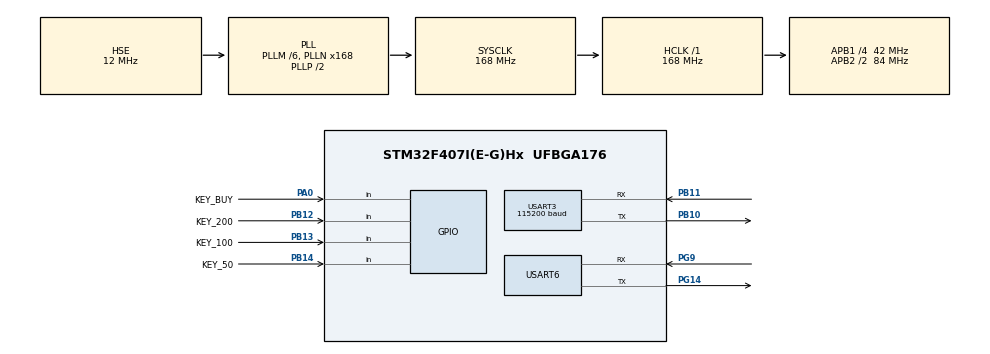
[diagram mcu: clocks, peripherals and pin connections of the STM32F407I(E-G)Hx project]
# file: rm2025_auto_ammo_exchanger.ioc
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Mcu.Family=STM32F4
Mcu.Name=STM32F407I(E-G)Hx
Mcu.Package=UFBGA176
NVIC.PriorityGroup=NVIC_PRIORITYGROUP_4
NVIC.USART3_IRQn=true\:0\:0\:false\:false\:true\:true\:true\:true
NVIC.USART6_IRQn=true\:0\:0\:false\:false\:true\:true\:true\:true
PA0-WKUP.GPIO_Label=KEY_BUY
PA0-WKUP.Signal=GPIO_Input
PA13.Mode=Serial_Wire
PA13.Signal=SYS_JTMS-SWDIO
PA14.Mode=Serial_Wire
PA14.Signal=SYS_JTCK-SWCLK
PB10.Mode=Asynchronous
PB10.Signal=USART3_TX
PB11.Mode=Asynchronous
PB11.Signal=USART3_RX
PB12.GPIO_Label=KEY_200
PB12.Signal=GPIO_Input
PB13.GPIO_Label=KEY_100
PB13.Signal=GPIO_Input
PB14.GPIO_Label=KEY_50
PB14.Signal=GPIO_Input
PG14.Mode=Asynchronous
PG14.Signal=USART6_TX
PG9.Mode=Asynchronous
PG9.Signal=USART6_RX
PH0-OSC_IN.Mode=HSE-External-Oscillator
PH0-OSC_IN.Signal=RCC_OSC_IN
PH1-OSC_OUT.Mode=HSE-External-Oscillator
PH1-OSC_OUT.Signal=RCC_OSC_OUT
ProjectManager.HeapSize=0x1000
ProjectManager.StackSize=0x1000
ProjectManager.TargetToolchain=MDK-ARM V5
RCC.48MHZClocksFreq_Value=84000000
RCC.AHBFreq_Value=168000000
RCC.APB1CLKDivider=RCC_HCLK_DIV4
RCC.APB1Freq_Value=42000000
RCC.APB1TimFreq_Value=84000000
RCC.APB2CLKDivider=RCC_HCLK_DIV2
RCC.APB2Freq_Value=84000000
RCC.APB2TimFreq_Value=168000000
RCC.CortexFreq_Value=168000000
RCC.FLatency=FLASH_LATENCY_5
RCC.HCLKFreq_Value=168000000
RCC.HSE_VALUE=12000000
RCC.HSI_VALUE=16000000
RCC.LSE_VALUE=32768
RCC.PLLM=6
RCC.PLLN=168
RCC.PLLSourceVirtual=RCC_PLLSOURCE_HSE
RCC.SYSCLKFreq_VALUE=168000000
RCC.SYSCLKSource=RCC_SYSCLKSOURCE_PLLCLK
RCC.VCOOutputFreq_Value=336000000
USART3.BaudRate=115200
USART3.Mode=MODE_TX_RX
USART3.Parity=PARITY_NONE
USART3.StopBits=STOPBITS_1
USART3.VirtualMode=VM_ASYNC
USART3.WordLength=WORDLENGTH_8B
USART6.VirtualMode=VM_ASYNC
board=custom

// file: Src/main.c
/* USER CODE BEGIN Header */
/**
  ******************************************************************************
  * @file           : main.c
  * @brief          : Main program body
  ******************************************************************************
  * @attention
  *
  * Copyright (c) 2026 STMicroelectronics.
  * All rights reserved.
  *
  * This software is licensed under terms that can be found in the LICENSE file
  * in the root directory of this software component.
  * If no LICENSE file comes with this software, it is provided AS-IS.
  *
  ******************************************************************************
  */
/* USER CODE END Header */
#include "main.h"
#include "usart.h"
#include "gpio.h"

/* USER CODE BEGIN Includes */
#include "referee_protocol.h"
#include "referee_frame_process.h"
#include "stdbool.h"
#include "stdint.h"
/* USER CODE END Includes */

/* USER CODE BEGIN PD */
#define NUM_KEYS 1
#define DELAY_MS 25
/* USER CODE END PD */

/* USER CODE BEGIN PV */
bool key_pressed[NUM_KEYS] = {false};
bool key_flag[NUM_KEYS] = {true};

custom_client_data_t custom_client_data = {0};
uint8_t client_data[8] = {0};

typedef struct {
    uint16_t x_pos;
    uint16_t y_pos;
} Position;

const Position key_positions[NUM_KEYS] = {
    {1160, 560}  //50弹
    // {1210, 560},  //100弹
    // {1210, 560}
};

const Position common_positions[3] = {
    {960, 670},
    {860, 560}  //确认
};
/* USER CODE END PV */

void SystemClock_Config(void);
/* USER CODE BEGIN PFP */
void send_mouse_sequence(uint16_t x, uint16_t y);
void send_common_sequence(void);
/* USER CODE END PFP */

int main(void)
{

  /* MCU Configuration--------------------------------------------------------*/

  /* Reset of all peripherals, Initializes the Flash interface and the Systick. */
  HAL_Init();

  /* Configure the system clock */
  SystemClock_Config();

  /* Initialize all configured peripherals */
  MX_GPIO_Init();
  MX_USART3_UART_Init();
  MX_USART6_UART_Init();

  /* Infinite loop */
  while (1)
  {

    /* USER CODE BEGIN 3 */
    for (int i = 0; i < NUM_KEYS; i++) {
      GPIO_PinState pin_state;

      switch (i) {
          case 0: pin_state = HAL_GPIO_ReadPin(KEY_BUY_GPIO_Port, KEY_BUY_Pin); break;
          // case 1: pin_state = HAL_GPIO_ReadPin(KEY_GPIO_Port, KEY_100_Pin); break;
          // case 2: pin_state = HAL_GPIO_ReadPin(KEY_GPIO_Port, KEY_200_Pin); break;
      }

      key_pressed[i] = (pin_state == GPIO_PIN_RESET);
      if (pin_state == GPIO_PIN_SET) {
          key_flag[i] = false;
      }

      if (key_pressed[i] && !key_flag[i]) {
        custom_client_data = (custom_client_data_t){
          .key_value = 79,
          .x_position = 0,
          .y_position = 0,
          .mouse_left = 0,
          .mouse_right = 0
        };
        memcpy(client_data, &custom_client_data, 8);
        HAL_UART_Transmit(&huart6, referee_pack_data(0x0306, client_data, 8), getRefSentDataLen(), 30);
        HAL_Delay(DELAY_MS);

        send_mouse_sequence(key_positions[i].x_pos, key_positions[i].y_pos);
        if(i == 2)
        send_mouse_sequence(key_positions[i].x_pos, key_positions[i].y_pos);

        send_common_sequence();

        custom_client_data = (custom_client_data_t){
          .key_value = 79,
          .x_position = 0,
          .y_position = 0,
          .mouse_left = 0,
          .mouse_right = 0
        };
        memcpy(client_data, &custom_client_data, 8);
        HAL_UART_Transmit(&huart6, referee_pack_data(0x0306, client_data, 8), getRefSentDataLen(), 30);
        HAL_Delay(DELAY_MS);

        send_mouse_sequence(0, 0);

        key_flag[i] = true;
        key_pressed[i] = false;
      }
    }
    HAL_Delay(10);
  }
  /* USER CODE END 3 */
}

void SystemClock_Config(void)
{
  RCC_OscInitTypeDef RCC_OscInitStruct = {0};
  RCC_ClkInitTypeDef RCC_ClkInitStruct = {0};

  /** Configure the main internal regulator output voltage
  */
  __HAL_RCC_PWR_CLK_ENABLE();
  __HAL_PWR_VOLTAGESCALING_CONFIG(PWR_REGULATOR_VOLTAGE_SCALE1);

  /** Initializes the RCC Oscillators according to the specified parameters
  * in the RCC_OscInitTypeDef structure.
  */
  RCC_OscInitStruct.OscillatorType = RCC_OSCILLATORTYPE_HSE;
  RCC_OscInitStruct.HSEState = RCC_HSE_ON;
  RCC_OscInitStruct.PLL.PLLState = RCC_PLL_ON;
  RCC_OscInitStruct.PLL.PLLSource = RCC_PLLSOURCE_HSE;
  RCC_OscInitStruct.PLL.PLLM = 6;
  RCC_OscInitStruct.PLL.PLLN = 168;
  RCC_OscInitStruct.PLL.PLLP = RCC_PLLP_DIV2;
  RCC_OscInitStruct.PLL.PLLQ = 4;
  if (HAL_RCC_OscConfig(&RCC_OscInitStruct) != HAL_OK)
  {
    Error_Handler();
  }

  /** Initializes the CPU, AHB and APB buses clocks
  */
  RCC_ClkInitStruct.ClockType = RCC_CLOCKTYPE_HCLK|RCC_CLOCKTYPE_SYSCLK
                              |RCC_CLOCKTYPE_PCLK1|RCC_CLOCKTYPE_PCLK2;
  RCC_ClkInitStruct.SYSCLKSource = RCC_SYSCLKSOURCE_PLLCLK;
  RCC_ClkInitStruct.AHBCLKDivider = RCC_SYSCLK_DIV1;
  RCC_ClkInitStruct.APB1CLKDivider = RCC_HCLK_DIV4;
  RCC_ClkInitStruct.APB2CLKDivider = RCC_HCLK_DIV2;

  if (HAL_RCC_ClockConfig(&RCC_ClkInitStruct, FLASH_LATENCY_5) != HAL_OK)
  {
    Error_Handler();
  }
}

/* USER CODE BEGIN 4 */
/**
 * @brief 鼠标点击操作
 * @param x X coordinate
 * @param y Y coordinate
 */
void send_mouse_sequence(uint16_t x, uint16_t y)
{
  custom_client_data = (custom_client_data_t){
    .key_value = 0,			//网上任意键值
    .x_position = x,
    .y_position = y,
    .mouse_left = 0,
    .mouse_right = 0
  };
  memcpy(client_data, &custom_client_data, 8);
  HAL_UART_Transmit(&huart6, referee_pack_data(0x0306, client_data, 8), getRefSentDataLen(), 30);
  HAL_Delay(DELAY_MS);

  custom_client_data.mouse_left = 1;
  memcpy(client_data, &custom_client_data, 8);
  HAL_UART_Transmit(&huart6, referee_pack_data(0x0306, client_data, 8), getRefSentDataLen(), 30);
  HAL_Delay(DELAY_MS);

  custom_client_data.mouse_left = 0;
  memcpy(client_data, &custom_client_data, 8);
  HAL_UART_Transmit(&huart6, referee_pack_data(0x0306, client_data, 8), getRefSentDataLen(), 30);
  HAL_Delay(DELAY_MS);
}

/**
 * @brief Sends the common mouse sequence shared by all keys
 */
void send_common_sequence(void)
{
  send_mouse_sequence(common_positions[0].x_pos, common_positions[0].y_pos);

  send_mouse_sequence(common_positions[1].x_pos, common_positions[1].y_pos);
}

/* USER CODE END 4 */

void Error_Handler(void)
{
  __disable_irq();
  while (1)
  {
  }
}
